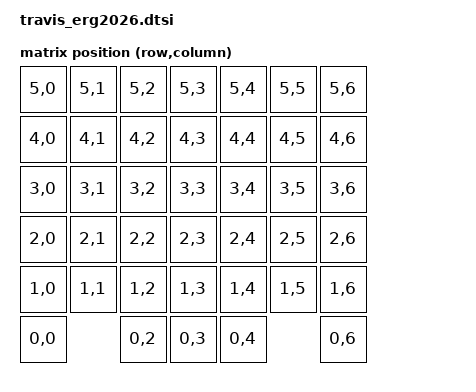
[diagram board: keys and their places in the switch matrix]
#include "travis_erg2026-layouts.dtsi"
#include <dt-bindings/zmk/matrix_transform.h>

/ {
    matrix_transform0: matrix_transform0 {
        compatible = "zmk,matrix-transform";
        columns = <7>;
        rows = <6>;
        map = <
            RC(5,0) RC(5,1) RC(5,2) RC(5,3) RC(5,4) RC(5,5) RC(5,6)
            RC(4,0) RC(4,1) RC(4,2) RC(4,3) RC(4,4) RC(4,5) RC(4,6)
            RC(3,0) RC(3,1) RC(3,2) RC(3,3) RC(3,4) RC(3,5) RC(3,6)
            RC(2,0) RC(2,1) RC(2,2) RC(2,3) RC(2,4) RC(2,5) RC(2,6)
            RC(1,0) RC(1,1) RC(1,2) RC(1,3) RC(1,4) RC(1,5) RC(1,6)
            RC(0,0)         RC(0,2) RC(0,3) RC(0,4)         RC(0,6)
        >;
    };
};

&physical_layout_travis_erg2026 {
    transform = <&matrix_transform0>;
};

// Encoders for all parts of the keyboard.
// If the encoder(s) are not behaving as expected,
// update steps and triggers-per-rotation to match your hardware.
// All pin assignments are done in the part overlays.

/ {
    encoder0: encoder0 {
        compatible = "alps,ec11";
        steps = <80>;
        status = "disabled";
    };

    sensors: sensors {
        compatible = "zmk,keymap-sensors";
        sensors = <&encoder0>;
        triggers-per-rotation = <20>;
    };
};

